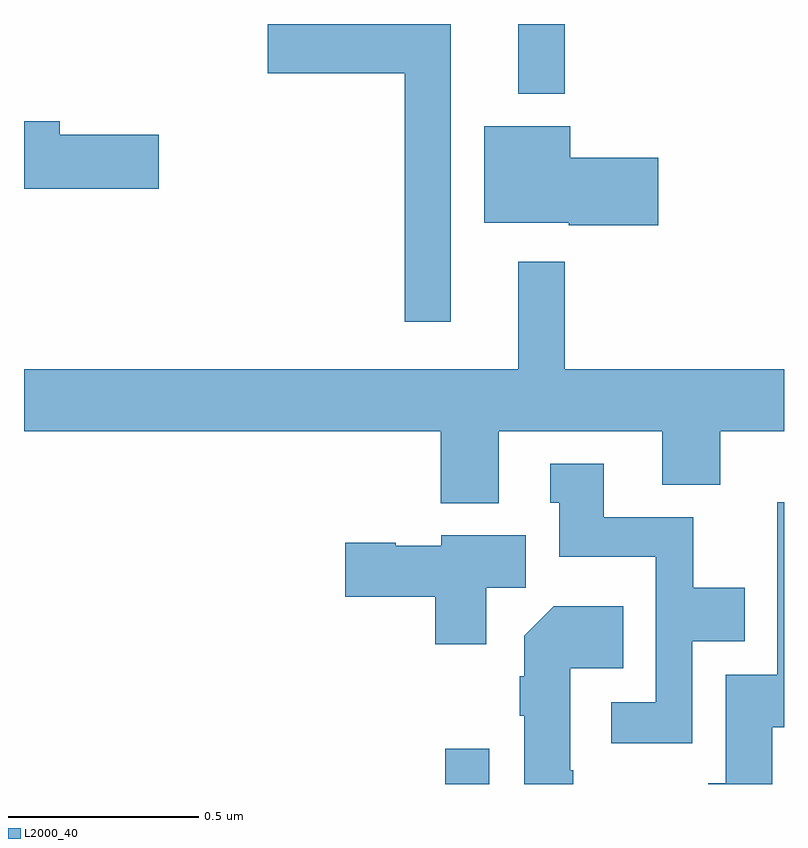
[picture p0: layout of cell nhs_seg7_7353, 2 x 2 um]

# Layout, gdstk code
import gdstk
lib = gdstk.Library(unit=1e-6, precision=1e-09)
def R(c, l, rs):  # rectangles x0, y0, x1, y1
    for r in rs: c.add(gdstk.rectangle(r[:2], r[2:], *l))
def P(c, l, *ps):  # polygons
    for p in ps: c.add(gdstk.Polygon(p, *l))
L2000_40 = (2000, 40)

nhs_seg7_7353 = lib.new_cell('nhs_seg7_7353')
R(nhs_seg7_7353, L2000_40, [(211.108,1021,211.224,1021.093), (211.301,1022.816,211.423,1023)])
P(nhs_seg7_7353, L2000_40, [(211.123,1023),(210.642,1023),(210.642,1022.87),(211.002,1022.87),(211.002,1022.217),(211.123,1022.217)],
  [(210.355,1022.708),(210.094,1022.708),(210.094,1022.744),(210,1022.744),(210,1022.566),(210.355,1022.566)],
  [(211.669,1022.648),(211.438,1022.648),(211.438,1022.731),(211.211,1022.731),(211.211,1022.477),(211.434,1022.477),(211.434,1022.47),(211.669,1022.47)],
  [(211.301,1022.374),(211.301,1022.092),(210,1022.092),(210,1021.928),(211.097,1021.928),(211.097,1021.739),(211.249,1021.739),(211.249,1021.928),(211.679,1021.928),(211.679,1021.787),(211.832,1021.787),(211.832,1021.928),(212,1021.928),(212,1022.092),(211.423,1022.092),(211.423,1022.374)],
  [(211.758,1021.376),(211.897,1021.376),(211.897,1021.516),(211.761,1021.516),(211.761,1021.702),(211.525,1021.702),(211.525,1021.843),(211.385,1021.843),(211.385,1021.74),(211.409,1021.74),(211.409,1021.598),(211.662,1021.598),(211.662,1021.215),(211.545,1021.215),(211.545,1021.107),(211.758,1021.107)],
  [(211.969,1021.149),(212,1021.149),(212,1021.741),(211.982,1021.741),(211.982,1021.288),(211.847,1021.288),(211.847,1021.002),(211.801,1021.002),(211.801,1021),(211.969,1021)],
  [(211.216,1021.516),(211.321,1021.516),(211.321,1021.654),(211.098,1021.654),(211.098,1021.627),(210.978,1021.627),(210.978,1021.635),(210.846,1021.635),(210.846,1021.493),(211.082,1021.493),(211.082,1021.368),(211.216,1021.368)],
  [(211.446,1021.036),(211.438,1021.036),(211.438,1021.304),(211.577,1021.304),(211.577,1021.468),(211.394,1021.468),(211.316,1021.39),(211.316,1021.283),(211.304,1021.283),(211.304,1021.18),(211.316,1021.18),(211.316,1021),(211.446,1021)])

lib.write_gds('nhs_seg7_7353.gds')
